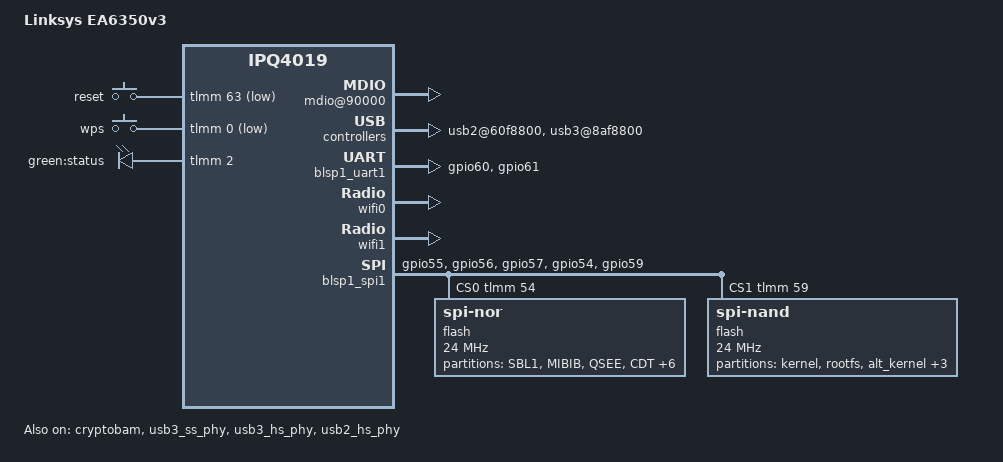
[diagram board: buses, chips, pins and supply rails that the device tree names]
// SPDX-License-Identifier: GPL-2.0-or-later OR MIT

#include "qcom-ipq4019.dtsi"
#include <dt-bindings/gpio/gpio.h>
#include <dt-bindings/input/input.h>
#include <dt-bindings/soc/qcom,tcsr.h>

/ {
	model = "Linksys EA6350v3";
	compatible = "linksys,ea6350v3";

	aliases {
		led-boot = &power;
		led-failsafe = &power;
		led-running = &power;
		led-upgrade = &power;
	};

	soc {
		rng@22000 {
			status = "okay";
		};

		mdio@90000 {
			status = "okay";
		};

		ess-psgmii@98000 {
			status = "okay";
		};

		tcsr@1949000 {
			compatible = "qcom,tcsr";
			reg = <0x1949000 0x100>;
			qcom,wifi_glb_cfg = <TCSR_WIFI_GLB_CFG>;
		};

		tcsr@194b000 {
			compatible = "qcom,tcsr";
			reg = <0x194b000 0x100>;
			qcom,usb-hsphy-mode-select = <TCSR_USB_HSPHY_HOST_MODE>;
		};

		ess_tcsr@1953000 {
			compatible = "qcom,tcsr";
			reg = <0x1953000 0x1000>;
			qcom,ess-interface-select = <TCSR_ESS_PSGMII>;
		};

		tcsr@1957000 {
			compatible = "qcom,tcsr";
			reg = <0x1957000 0x100>;
			qcom,wifi_noc_memtype_m0_m2 = <TCSR_WIFI_NOC_MEMTYPE_M0_M2>;
		};

		usb2@60f8800 {
			status = "okay";
		};

		usb3@8af8800 {
			status = "okay";
		};

		crypto@8e3a000 {
			status = "okay";
		};

		watchdog@b017000 {
			status = "okay";
		};

		ess-switch@c000000 {
			status = "okay";
		};

		edma@c080000 {
			status = "okay";
		};
	};

	keys {
		compatible = "gpio-keys";

		reset {
			label = "reset";
			gpios = <&tlmm 63 GPIO_ACTIVE_LOW>;
			linux,code = <KEY_RESTART>;
		};

		wps {
			label = "wps";
			gpios = <&tlmm 0 GPIO_ACTIVE_LOW>;
			linux,code = <KEY_WPS_BUTTON>;
		};
	};

	leds {
		compatible = "gpio-leds";

		power: status {
			label = "green:status";
			gpios = <&tlmm 2 GPIO_ACTIVE_HIGH>;
		};
	};
};

&blsp1_uart1 {
	pinctrl-0 = <&serial_pins>;
	pinctrl-names = "default";
	status = "okay";
};

&cryptobam {
	status = "okay";
};

&wifi0 {
	status = "okay";
	qcom,ath10k-calibration-variant = "linksys-ea6350v3";
};

&wifi1 {
	status = "okay";
	qcom,ath10k-calibration-variant = "linksys-ea6350v3";
};


&blsp_dma {
	status = "okay";
};

&tlmm {
	serial_pins: serial_pinmux {
		mux {
			pins = "gpio60", "gpio61";
			function = "blsp_uart0";
			bias-disable;
		};
	};

	spi_0_pins: spi_0_pinmux {
		mux {
			function = "blsp_spi0";
			pins = "gpio55", "gpio56", "gpio57";
			drive-strength = <12>;
			bias-disable;
		};

		mux_cs {
			function = "gpio";
			pins = "gpio54", "gpio59";
			drive-strength = <2>;
			bias-disable;
			output-high;
		};
	};
};

&blsp1_spi1 { /* BLSP1 QUP1 */
	pinctrl-0 = <&spi_0_pins>;
	pinctrl-names = "default";
	status = "okay";
	cs-gpios = <&tlmm 54 GPIO_ACTIVE_HIGH>,
		   <&tlmm 59 GPIO_ACTIVE_HIGH>;

	flash@0 {
		compatible = "jedec,spi-nor";
		reg = <0>;
		spi-max-frequency = <24000000>;

		partitions {
			compatible = "fixed-partitions";
			#address-cells = <1>;
			#size-cells = <1>;

			SBL1@0 {
				label = "SBL1";
				reg = <0x00000000 0x00040000>;
				read-only;
			};

			MBIB@40000 {
				label = "MIBIB";
				reg = <0x00040000 0x00020000>;
				read-only;
			};

			QSEE@60000 {
				label = "QSEE";
				reg = <0x00060000 0x00060000>;
				read-only;
			};

			CDT@c0000 {
				label = "CDT";
				reg = <0x000c0000 0x00010000>;
				read-only;
			};

			APPSBLENV@d0000 {
				label = "APPSBLENV";
				reg = <0x000d0000 0x00010000>;
				read-only;
			};

			APPSBL@e0000 {
				label = "APPSBL"; /* uboot */
				reg = <0x000e0000 0x00080000>;
				read-only;
			};

			ART@160000 {
				label = "ART";
				reg = <0x00160000 0x00010000>;
				read-only;
			};

			u_env@170000 {
				label = "u_env";
				reg = <0x00170000 0x00020000>;
			};

			s_env@190000 {
				label = "s_env";
				reg = <0x00190000 0x00020000>;
			};

			devinfo@1b0000 {
				label = "devinfo";
				reg = <0x001b0000 0x00010000>;
			};
			/* 0x001c0000 - 0x00200000 unused */
		};
	};

	flash@1 {
		status = "okay";
		compatible = "spi-nand";
		reg = <1>;
		spi-max-frequency = <24000000>;

		partitions {
			compatible = "fixed-partitions";
			#address-cells = <1>;
			#size-cells = <1>;

			kernel@0 {
				label = "kernel";
				reg = <0x00000000 0x02800000>;
			};

			rootfs@300000 {
				label = "rootfs";
				reg = <0x00300000 0x02500000>;
			};

			alt_kernel@2800000 {
				label = "alt_kernel";
				reg = <0x02800000 0x02800000>;
			};

			alt_rootfs@2b00000 {
				label = "alt_rootfs";
				reg = <0x02b00000 0x02500000>;
			};

			sysdiag@5000000 {
				label = "sysdiag";
				reg = <0x05000000 0x00100000>;
			};

			syscfg@5100000 {
				label = "syscfg";
				reg = <0x05100000 0x02F00000>;
			};
			/* 0x00000000 - 0x08000000: 128 MiB */
		};
	};
};

&usb3_ss_phy {
	status = "okay";
};

&usb3_hs_phy {
	status = "okay";
};

&usb2_hs_phy {
	status = "okay";
};
